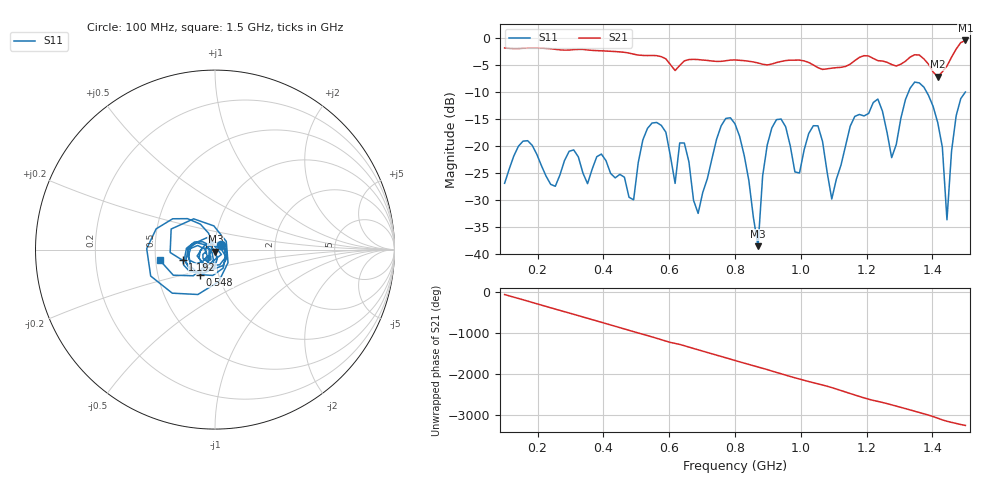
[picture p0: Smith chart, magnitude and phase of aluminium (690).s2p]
! NanoVNA-App
! Date: 2025-09-25 15:00:39
! Start: 100MHz Stop: 1,5GHz Points: 101
! S-Parameter data: F S11 S21 S12 S22
# Hz S RI R 50
!  Frequency  S11_Real  S11_Imag  S21_Real  S21_Imag  S12_Real  S12_Imag  S22_Real  S22_Imag
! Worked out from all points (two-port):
!   101 points, 100 MHz to 1.5 GHz, reference 50 ohm
!   highest |S21| = -0.54 dB at 1.5 GHz (marker M1); lowest = -7.3 dB at 1.416 GHz (marker M2)
!   |S21| within 3 dB of the highest: start of sweep to 576.2 MHz; 1.459 GHz to end of sweep (the widest 2 of 4)
!   lowest |S11| = -38.6 dB at 870 MHz (marker M3), VSWR 1.02, Z = 50.2 - j1.17 ohm
!   |S11| at or under -10 dB: start of sweep to 1.328 GHz; 1.382 GHz to end of sweep
!   S12 and S22 are empty: the file has one direction only
!   S11 on the Smith chart (normalised r, x): 100 MHz: 1.07, +0.06; 548 MHz: 0.82, -0.23; 1.192 GHz: 0.69, -0.08; 1.5 GHz: 0.53, -0.07
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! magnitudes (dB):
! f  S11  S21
! 100 MHz  -27.0  -1.9
! 156 MHz  -19.2  -2.0
! 338 MHz  -25.1  -2.2
! 492 MHz  -30.0  -3.1
! 548 MHz  -15.8  -3.3
! 576 MHz  -16.2  -3.5
! 646 MHz  -19.5  -4.3
! 688 MHz  -32.5  -4.1
! 800 MHz  -16.0  -4.1
! 870 MHz  -38.6  -4.7
! 912 MHz  -16.7  -4.9
! 996 MHz  -25.0  -4.2
! 1.038 GHz  -16.3  -5.1
! 1.094 GHz  -29.9  -5.7
! 1.192 GHz  -14.5  -3.3
! 1.234 GHz  -11.4  -4.3
! 1.276 GHz  -22.2  -5.0
! 1.346 GHz  -8.2  -3.2
! 1.416 GHz  -15.7  -7.3
! 1.444 GHz  -33.7  -5.3
! 1.472 GHz  -14.5  -2.1
! 1.5 GHz  -10.1  -0.5
